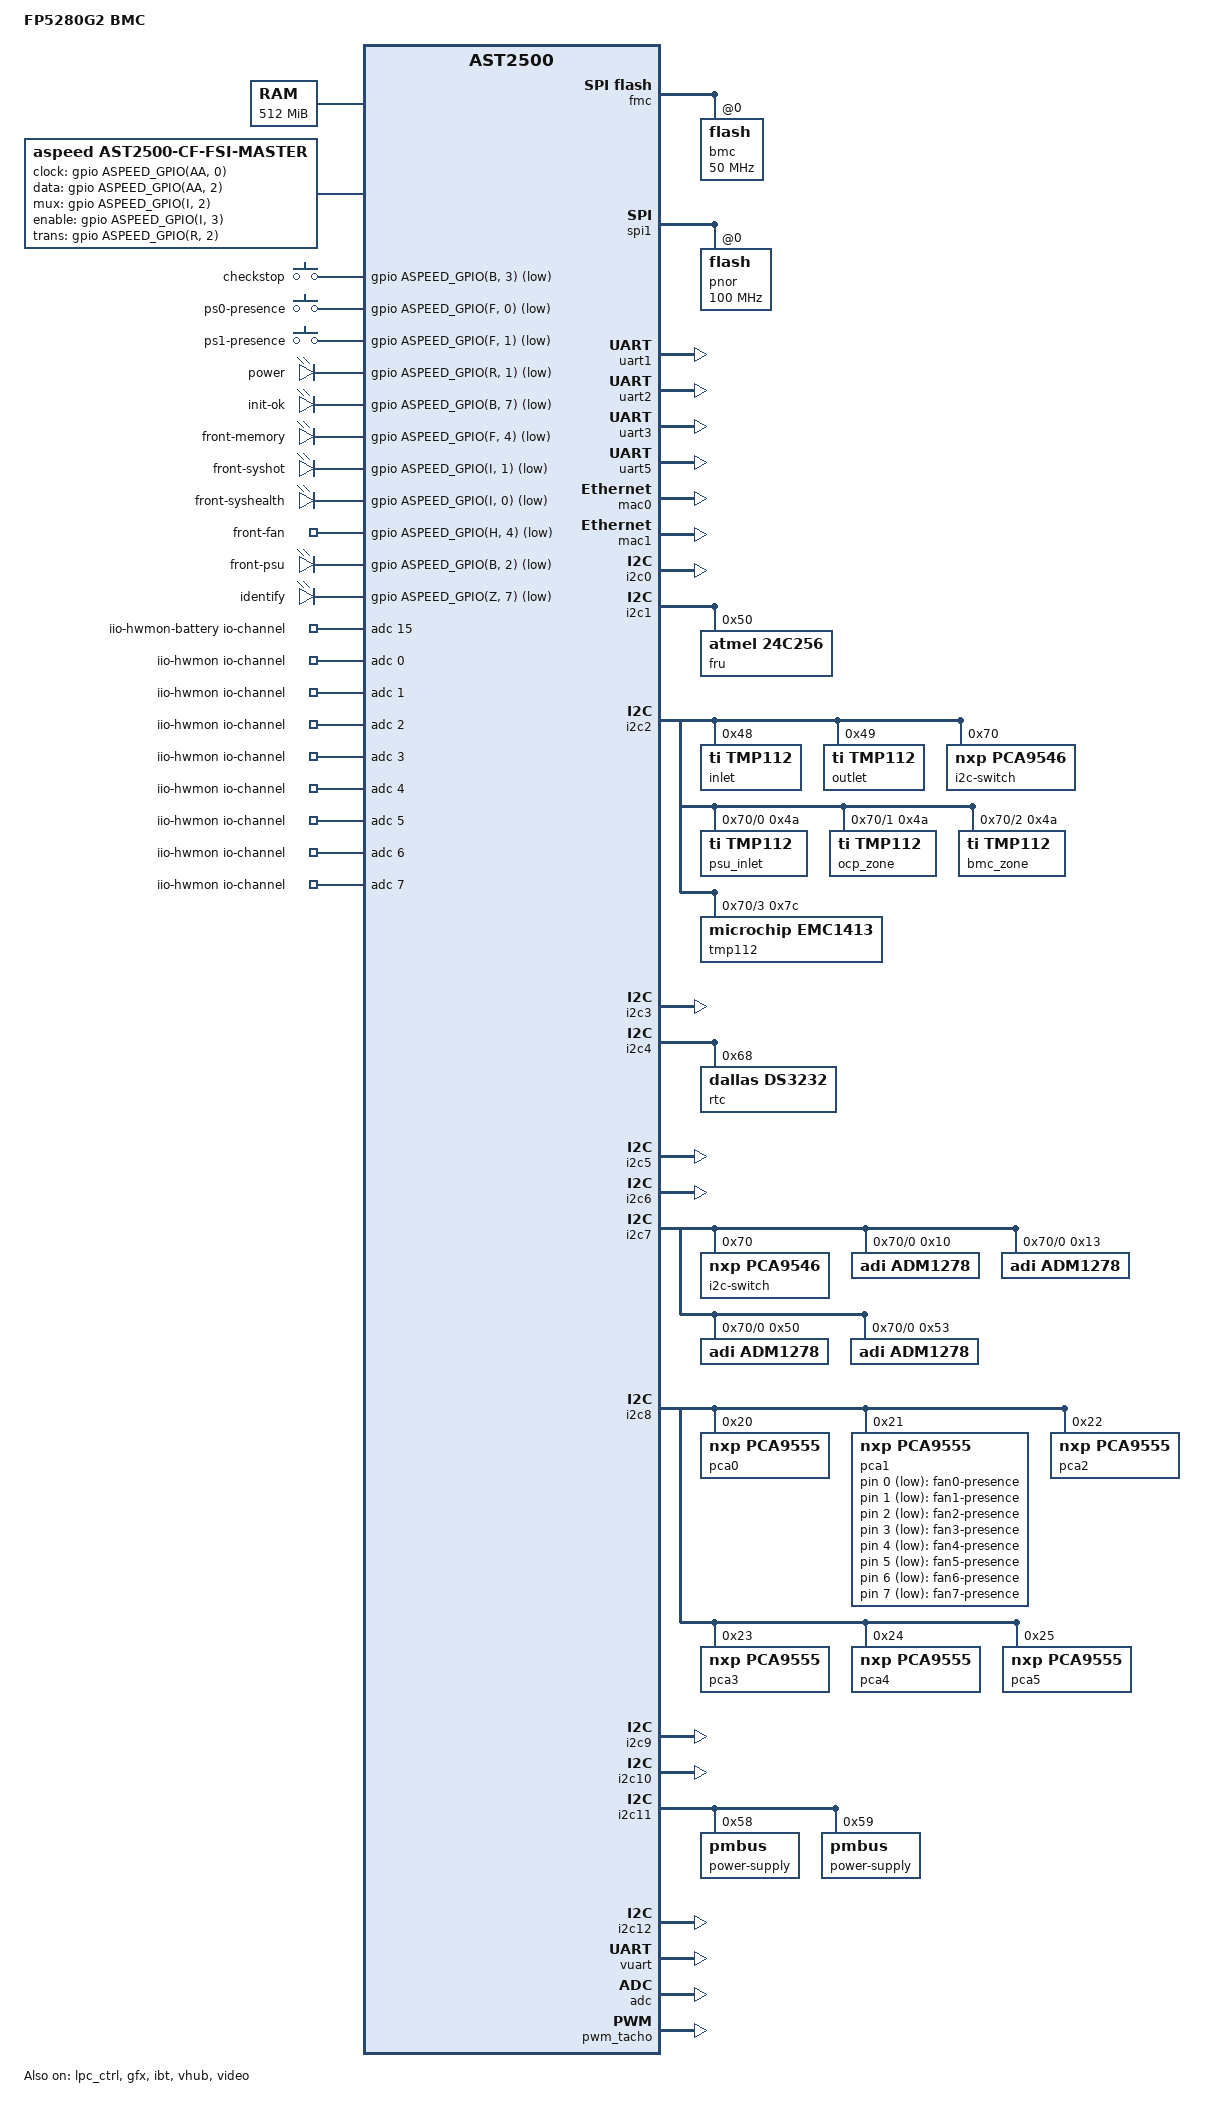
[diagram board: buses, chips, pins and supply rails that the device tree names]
// SPDX-License-Identifier: GPL-2.0+
/dts-v1/;
#include "aspeed-g5.dtsi"
#include <dt-bindings/gpio/aspeed-gpio.h>
#include <dt-bindings/leds/leds-pca955x.h>

/ {
	model = "FP5280G2 BMC";
	compatible = "inspur,fp5280g2-bmc", "aspeed,ast2500";

	chosen {
		stdout-path = &uart5;
		bootargs = "console=ttyS4,115200 earlyprintk";
	};

	memory@80000000 {
		reg = <0x80000000 0x20000000>;
	};

	reserved-memory {
		#address-cells = <1>;
		#size-cells = <1>;
		ranges;

		vga_memory: framebuffer@9f000000 {
			no-map;
			reg = <0x9f000000 0x01000000>; /* 16M */
		};

		flash_memory: region@98000000 {
			no-map;
			reg = <0x98000000 0x04000000>; /* 64M */
		};

		coldfire_memory: codefire_memory@9ef00000 {
			reg = <0x9ef00000 0x00100000>;
			no-map;
		};

		gfx_memory: framebuffer {
			size = <0x01000000>;
			alignment = <0x01000000>;
			compatible = "shared-dma-pool";
			reusable;
		};

		video_engine_memory: jpegbuffer {
			size = <0x02000000>;	/* 32M */
			alignment = <0x01000000>;
			compatible = "shared-dma-pool";
			reusable;
		};
	};

	fsi: gpio-fsi {
		compatible = "aspeed,ast2500-cf-fsi-master", "fsi-master";
		#address-cells = <2>;
		#size-cells = <0>;
		no-gpio-delays;

		memory-region = <&coldfire_memory>;
		aspeed,sram = <&sram>;
		aspeed,cvic = <&cvic>;

		clock-gpios = <&gpio ASPEED_GPIO(AA, 0) GPIO_ACTIVE_HIGH>;
		data-gpios = <&gpio ASPEED_GPIO(AA, 2) GPIO_ACTIVE_HIGH>;
		mux-gpios = <&gpio ASPEED_GPIO(I, 2) GPIO_ACTIVE_HIGH>;
		enable-gpios = <&gpio ASPEED_GPIO(I, 3) GPIO_ACTIVE_HIGH>;
		trans-gpios = <&gpio ASPEED_GPIO(R, 2) GPIO_ACTIVE_HIGH>;
	};

	gpio-keys {
		compatible = "gpio-keys";

		checkstop {
			label = "checkstop";
			gpios = <&gpio ASPEED_GPIO(B, 3) GPIO_ACTIVE_LOW>;
			linux,code = <ASPEED_GPIO(B, 3)>;
		};

		ps0-presence {
			label = "ps0-presence";
			gpios = <&gpio ASPEED_GPIO(F, 0) GPIO_ACTIVE_LOW>;
			linux,code = <ASPEED_GPIO(F, 0)>;
		};

		ps1-presence {
			label = "ps1-presence";
			gpios = <&gpio ASPEED_GPIO(F, 1) GPIO_ACTIVE_LOW>;
			linux,code = <ASPEED_GPIO(F, 1)>;
		};

	};

	gpio-keys-polled {
		compatible = "gpio-keys-polled";
		poll-interval = <1000>;

		fan0-presence {
			label = "fan0-presence";
			gpios = <&pca1 0 GPIO_ACTIVE_LOW>;
			linux,code = <1>;
		};

		fan1-presence {
			label = "fan1-presence";
			gpios = <&pca1 1 GPIO_ACTIVE_LOW>;
			linux,code = <2>;
		};

		fan2-presence {
			label = "fan2-presence";
			gpios = <&pca1 2 GPIO_ACTIVE_LOW>;
			linux,code = <3>;
		};

		fan3-presence {
			label = "fan3-presence";
			gpios = <&pca1 3 GPIO_ACTIVE_LOW>;
			linux,code = <4>;
		};

		fan4-presence {
			label = "fan4-presence";
			gpios = <&pca1 4 GPIO_ACTIVE_LOW>;
			linux,code = <5>;
		};

		fan5-presence {
			label = "fan5-presence";
			gpios = <&pca1 5 GPIO_ACTIVE_LOW>;
			linux,code = <6>;
		};

		fan6-presence {
			label = "fan6-presence";
			gpios = <&pca1 6 GPIO_ACTIVE_LOW>;
			linux,code = <7>;
		};

		fan7-presence {
			label = "fan7-presence";
			gpios = <&pca1 7 GPIO_ACTIVE_LOW>;
			linux,code = <8>;
		};
	};

	leds {
		compatible = "gpio-leds";

		power {
			label = "power";
			/* TODO: dummy gpio */
			gpios = <&gpio ASPEED_GPIO(R, 1) GPIO_ACTIVE_LOW>;
		};

		init-ok {
			label = "init-ok";
			gpios = <&gpio ASPEED_GPIO(B, 7) GPIO_ACTIVE_LOW>;
		};

		front-memory {
			label = "front-memory";
			gpios = <&gpio ASPEED_GPIO(F, 4) GPIO_ACTIVE_LOW>;
		};

		front-syshot {
			label = "front-syshot";
			gpios = <&gpio ASPEED_GPIO(I, 1) GPIO_ACTIVE_LOW>;
		};

		front-syshealth {
			label = "front-syshealth";
			gpios = <&gpio ASPEED_GPIO(I, 0) GPIO_ACTIVE_LOW>;
		};

		front-fan {
			label = "front-fan";
			gpios = <&gpio ASPEED_GPIO(H, 4) GPIO_ACTIVE_LOW>;
		};

		front-psu {
			label = "front-psu";
			gpios = <&gpio ASPEED_GPIO(B, 2) GPIO_ACTIVE_LOW>;
		};

		identify {
			label = "identify";
			gpios = <&gpio ASPEED_GPIO(Z, 7) GPIO_ACTIVE_LOW>;
		};
	};

	iio-hwmon-battery {
		compatible = "iio-hwmon";
		io-channels = <&adc 15>;
	};

	iio-hwmon {
		compatible = "iio-hwmon";
		io-channels = <&adc 0>, <&adc 1>, <&adc 2>, <&adc 3>, <&adc 4>,
			<&adc 5>, <&adc 6>, <&adc 7>, <&adc 8>, <&adc 9>,
			<&adc 10>, <&adc 11>, <&adc 12>, <&adc 13>, <&adc 14>;
	};

};

&fmc {
	status = "okay";

	flash@0 {
		status = "okay";
		label = "bmc";
		m25p,fast-read;
		spi-max-frequency = <50000000>;
#include "openbmc-flash-layout.dtsi"
	};
};

&spi1 {
	status = "okay";
	pinctrl-names = "default";
	pinctrl-0 = <&pinctrl_spi1_default>;

	flash@0 {
		status = "okay";
		label = "pnor";
		m25p,fast-read;
		spi-max-frequency = <100000000>;
	};
};

&uart1 {
	/* Rear RS-232 connector */
	status = "okay";
	pinctrl-names = "default";
	pinctrl-0 = <&pinctrl_txd1_default
			&pinctrl_rxd1_default
			&pinctrl_nrts1_default
			&pinctrl_ndtr1_default
			&pinctrl_ndsr1_default
			&pinctrl_ncts1_default
			&pinctrl_ndcd1_default
			&pinctrl_nri1_default>;
};

&uart2 {
	/* Test Point */
	status = "okay";
	pinctrl-names = "default";
	pinctrl-0 = <&pinctrl_txd2_default &pinctrl_rxd2_default>;
};

&uart3 {
	/* APSS */
	status = "okay";
	pinctrl-names = "default";
	pinctrl-0 = <&pinctrl_txd3_default &pinctrl_rxd3_default>;
};

&uart5 {
	status = "okay";
};

&lpc_ctrl {
	status = "okay";
	memory-region = <&flash_memory>;
	flash = <&spi1>;
};

&mac0 {
	status = "okay";
	pinctrl-names = "default";
	pinctrl-0 = <&pinctrl_rmii1_default>;
	clocks = <&syscon ASPEED_CLK_GATE_MAC1CLK>,
		 <&syscon ASPEED_CLK_MAC1RCLK>;
	clock-names = "MACCLK", "RCLK";
	use-ncsi;
};

&mac1 {
	status = "okay";
	pinctrl-names = "default";
	pinctrl-0 = <&pinctrl_rgmii2_default &pinctrl_mdio2_default>;
};

&i2c0 {
	/* LCD */
	status = "okay";
};

&i2c1 {
	status = "okay";

	eeprom@50 {
		compatible = "atmel,24c256";
		reg = <0x50>;
		label = "fru";
	};

};

&i2c2 {
	status = "okay";

	tmp112@48 {
		compatible = "ti,tmp112";
		reg = <0x48>;
		label = "inlet";
	};

	tmp112@49 {
		compatible = "ti,tmp112";
		reg = <0x49>;
		label = "outlet";
	};

	i2c-switch@70 {
		compatible = "nxp,pca9546";
		reg = <0x70>;
		#address-cells = <1>;
		#size-cells = <0>;

		i2c@0 {
			#address-cells = <1>;
			#size-cells = <0>;
			reg = <0>;

			tmp112@4a {
				compatible = "ti,tmp112";
				reg = <0x4a>;
				label = "psu_inlet";
			};

		};

		i2c@1 {
			#address-cells = <1>;
			#size-cells = <0>;
			reg = <1>;

			tmp112@4a {
				compatible = "ti,tmp112";
				reg = <0x4a>;
				label = "ocp_zone";
			};
		};

		i2c@2 {
			#address-cells = <1>;
			#size-cells = <0>;
			reg = <2>;

			tmp112@4a {
				compatible = "ti,tmp112";
				reg = <0x4a>;
				label = "bmc_zone";
			};
		};

		i2c@3 {
			#address-cells = <1>;
			#size-cells = <0>;
			reg = <3>;

			tmp112@7c {
				compatible = "microchip,emc1413";
				reg = <0x7c>;
			};
		};

	};
};

&i2c3 {
	/* Riser Card */
	status = "okay";
};

&i2c4 {
	status = "okay";

	rtc@68 {
		compatible = "dallas,ds3232";
		reg = <0x68>;
	};
};

&i2c5 {
	/* vr  */
	status = "okay";
};

&i2c6 {
	/* bp card */
	status = "okay";
};

&i2c7 {
	status = "okay";

	i2c-switch@70 {
		compatible = "nxp,pca9546";
		reg = <0x70>;
		#address-cells = <1>;
		#size-cells = <0>;

		i2c@0 {
			#address-cells = <1>;
			#size-cells = <0>;
			reg = <0>;

			adm1278@10 {
				compatible = "adi,adm1278";
				reg = <0x10>;
			};

			adm1278@13 {
				compatible = "adi,adm1278";
				reg = <0x13>;
			};

			adm1278@50 {
				compatible = "adi,adm1278";
				reg = <0x50>;
			};

			adm1278@53 {
				compatible = "adi,adm1278";
				reg = <0x53>;
			};

		};

		/*pcie riser*/

	};
};

&i2c8 {
	status = "okay";

	pca0: pca9555@20 {
		compatible = "nxp,pca9555";
		reg = <0x20>;
		#address-cells = <1>;
		#size-cells = <0>;

		gpio-controller;
		#gpio-cells = <2>;

		gpio@0 {
			reg = <0>;
			type = <PCA955X_TYPE_GPIO>;
		};

		gpio@1 {
			reg = <1>;
			type = <PCA955X_TYPE_GPIO>;
		};

		gpio@2 {
			reg = <2>;
			type = <PCA955X_TYPE_GPIO>;
		};

		gpio@3 {
			reg = <3>;
			type = <PCA955X_TYPE_GPIO>;
		};

		gpio@4 {
			reg = <4>;
			type = <PCA955X_TYPE_GPIO>;
		};

		gpio@5 {
			reg = <5>;
			type = <PCA955X_TYPE_GPIO>;
		};

		gpio@6 {
			reg = <6>;
			type = <PCA955X_TYPE_GPIO>;
		};

		gpio@7 {
			reg = <7>;
			type = <PCA955X_TYPE_GPIO>;
		};

	};

	pca1: pca9555@21 {
		compatible = "nxp,pca9555";
		reg = <0x21>;
		#address-cells = <1>;
		#size-cells = <0>;

		gpio-controller;
		#gpio-cells = <2>;

		gpio@0 {
			reg = <0>;
			type = <PCA955X_TYPE_GPIO>;
		};

		gpio@1 {
			reg = <1>;
			type = <PCA955X_TYPE_GPIO>;
		};

		gpio@2 {
			reg = <2>;
			type = <PCA955X_TYPE_GPIO>;
		};

		gpio@3 {
			reg = <3>;
			type = <PCA955X_TYPE_GPIO>;
		};

		gpio@4 {
			reg = <4>;
			type = <PCA955X_TYPE_GPIO>;
		};

		gpio@5 {
			reg = <5>;
			type = <PCA955X_TYPE_GPIO>;
		};

		gpio@6 {
			reg = <6>;
			type = <PCA955X_TYPE_GPIO>;
		};

		gpio@7 {
			reg = <7>;
			type = <PCA955X_TYPE_GPIO>;
		};
	};

	pca2: pca9555@22 {
		compatible = "nxp,pca9555";
		reg = <0x22>;
		#address-cells = <1>;
		#size-cells = <0>;

		gpio-controller;
		#gpio-cells = <2>;

		gpio@0 {
			reg = <0>;
			type = <PCA955X_TYPE_GPIO>;
		};

		gpio@1 {
			reg = <1>;
			type = <PCA955X_TYPE_GPIO>;
		};

		gpio@2 {
			reg = <2>;
			type = <PCA955X_TYPE_GPIO>;
		};

		gpio@3 {
			reg = <3>;
			type = <PCA955X_TYPE_GPIO>;
		};

		gpio@4 {
			reg = <4>;
			type = <PCA955X_TYPE_GPIO>;
		};

		gpio@5 {
			reg = <5>;
			type = <PCA955X_TYPE_GPIO>;
		};

		gpio@6 {
			reg = <6>;
			type = <PCA955X_TYPE_GPIO>;
		};

		gpio@7 {
			reg = <7>;
			type = <PCA955X_TYPE_GPIO>;
		};
	};

	pca3: pca9555@23 {
		compatible = "nxp,pca9555";
		reg = <0x23>;
		#address-cells = <1>;
		#size-cells = <0>;

		gpio-controller;
		#gpio-cells = <2>;

		gpio@0 {
			reg = <0>;
			type = <PCA955X_TYPE_GPIO>;
		};

		gpio@1 {
			reg = <1>;
			type = <PCA955X_TYPE_GPIO>;
		};

		gpio@2 {
			reg = <2>;
			type = <PCA955X_TYPE_GPIO>;
		};

		gpio@3 {
			reg = <3>;
			type = <PCA955X_TYPE_GPIO>;
		};

		gpio@4 {
			reg = <4>;
			type = <PCA955X_TYPE_GPIO>;
		};

		gpio@5 {
			reg = <5>;
			type = <PCA955X_TYPE_GPIO>;
		};

		gpio@6 {
			reg = <6>;
			type = <PCA955X_TYPE_GPIO>;
		};

		gpio@7 {
			reg = <7>;
			type = <PCA955X_TYPE_GPIO>;
		};
	};

	pca4: pca9555@24 {
		compatible = "nxp,pca9555";
		reg = <0x24>;
		#address-cells = <1>;
		#size-cells = <0>;

		gpio-controller;
		#gpio-cells = <2>;

		gpio@0 {
			reg = <0>;
			type = <PCA955X_TYPE_GPIO>;
		};

		gpio@1 {
			reg = <1>;
			type = <PCA955X_TYPE_GPIO>;
		};

		gpio@2 {
			reg = <2>;
			type = <PCA955X_TYPE_GPIO>;
		};

		gpio@3 {
			reg = <3>;
			type = <PCA955X_TYPE_GPIO>;
		};

		gpio@4 {
			reg = <4>;
			type = <PCA955X_TYPE_GPIO>;
		};

		gpio@5 {
			reg = <5>;
			type = <PCA955X_TYPE_GPIO>;
		};

		gpio@6 {
			reg = <6>;
			type = <PCA955X_TYPE_GPIO>;
		};

		gpio@7 {
			reg = <7>;
			type = <PCA955X_TYPE_GPIO>;
		};
	};

	pca5: pca9555@25 {
		compatible = "nxp,pca9555";
		reg = <0x25>;
		#address-cells = <1>;
		#size-cells = <0>;

		gpio-controller;
		#gpio-cells = <2>;

		gpio@0 {
			reg = <0>;
			type = <PCA955X_TYPE_GPIO>;
		};

		gpio@1 {
			reg = <1>;
			type = <PCA955X_TYPE_GPIO>;
		};

		gpio@2 {
			reg = <2>;
			type = <PCA955X_TYPE_GPIO>;
		};

		gpio@3 {
			reg = <3>;
			type = <PCA955X_TYPE_GPIO>;
		};

		gpio@4 {
			reg = <4>;
			type = <PCA955X_TYPE_GPIO>;
		};

		gpio@5 {
			reg = <5>;
			type = <PCA955X_TYPE_GPIO>;
		};

		gpio@6 {
			reg = <6>;
			type = <PCA955X_TYPE_GPIO>;
		};

		gpio@7 {
			reg = <7>;
			type = <PCA955X_TYPE_GPIO>;
		};
	};

};

&i2c9 {
	/* cpld */
	status = "okay";
};

&i2c10 {
	/* hdd bp */
	status = "okay";
};

&i2c11 {
	status = "okay";

	power-supply@58 {
		compatible = "pmbus";
		reg = <0x58>;
	};

	power-supply@59 {
		compatible = "pmbus";
		reg = <0x59>;
	};
};

&i2c12 {
	/* odcc */
	status = "okay";
};

&vuart {
	status = "okay";
};

&gfx {
	status = "okay";
	memory-region = <&gfx_memory>;
};

&pinctrl {
	aspeed,external-nodes = <&gfx &lhc>;
};

&wdt1 {
	aspeed,reset-type = "none";
	aspeed,external-signal;
	aspeed,ext-push-pull;
	aspeed,ext-active-high;

	pinctrl-names = "default";
	pinctrl-0 = <&pinctrl_wdtrst1_default>;
};

&ibt {
	status = "okay";

};

&adc {
	status = "okay";
	pinctrl-names = "default";
	pinctrl-0 = <&pinctrl_adc0_default &pinctrl_adc1_default
	 &pinctrl_adc2_default &pinctrl_adc3_default &pinctrl_adc4_default
	 &pinctrl_adc5_default &pinctrl_adc6_default &pinctrl_adc7_default
	 &pinctrl_adc8_default &pinctrl_adc9_default &pinctrl_adc10_default
	 &pinctrl_adc11_default &pinctrl_adc12_default &pinctrl_adc13_default
	 &pinctrl_adc14_default &pinctrl_adc15_default>;
};

&vhub {
	status = "okay";
};

&video {
	status = "okay";
	memory-region = <&video_engine_memory>;
};

&pwm_tacho {
	status = "okay";
	pinctrl-names = "default";
	pinctrl-0 = <&pinctrl_pwm0_default &pinctrl_pwm1_default
		&pinctrl_pwm2_default &pinctrl_pwm3_default
		&pinctrl_pwm4_default &pinctrl_pwm5_default
		&pinctrl_pwm6_default &pinctrl_pwm7_default>;

	fan@0 {
		reg = <0x00>;
		aspeed,fan-tach-ch = /bits/ 8 <0x00 0x01>;
	};

	fan@1 {
		reg = <0x01>;
		aspeed,fan-tach-ch = /bits/ 8 <0x02 0x03>;
	};

	fan@2 {
		reg = <0x02>;
		aspeed,fan-tach-ch = /bits/ 8 <0x04 0x05>;
	};

	fan@3 {
		reg = <0x03>;
		aspeed,fan-tach-ch = /bits/ 8 <0x06 0x07>;
	};

	fan@4 {
		reg = <0x04>;
		aspeed,fan-tach-ch = /bits/ 8 <0x08 0x09>;
	};

	fan@5 {
		reg = <0x05>;
		aspeed,fan-tach-ch = /bits/ 8 <0x0a 0x0b>;
	};

	fan@6 {
		reg = <0x06>;
		aspeed,fan-tach-ch = /bits/ 8 <0x0c 0x0d>;
	};

	fan@7 {
		reg = <0x07>;
		aspeed,fan-tach-ch = /bits/ 8 <0x0e 0x0f>;
	};

};

#include "ibm-power9-dual.dtsi"
